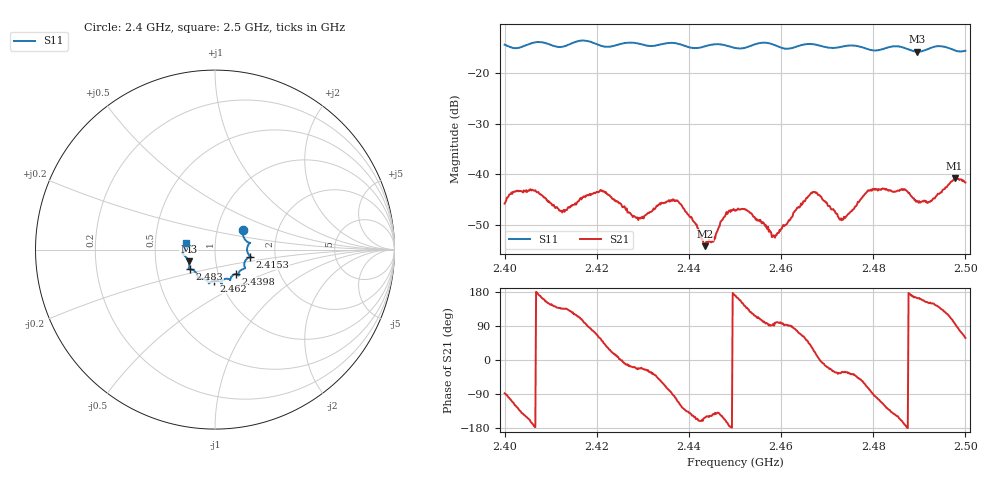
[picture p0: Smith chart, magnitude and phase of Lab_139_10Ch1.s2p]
# Hz S RI R 50
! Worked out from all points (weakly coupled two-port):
!   601 points, 2.4 GHz to 2.5 GHz, reference 50 ohm
!   highest |S21| = -40.74 dB at 2.4977 GHz (marker M1); lowest = -54.1 dB at 2.4435 GHz (marker M2)
!   lowest |S11| = -15.9 dB at 2.4895 GHz (marker M3), VSWR 1.38, Z = 37 - j5.01 ohm
!   |S11| at or under -10 dB: start of sweep to end of sweep
!   S12 and S22 are empty: the file has one direction only
!   S11 on the Smith chart (normalised r, x): 2.4 GHz: 1.33, +0.29; 2.4153 GHz: 1.48, -0.12; 2.4398 GHz: 1.21, -0.34; 2.462 GHz: 0.93, -0.33; 2.483 GHz: 0.74, -0.17; 2.5 GHz: 0.72, +0.06
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2.4e9  0.155 0.1069  0.000176 -0.00518  0 0  0 0
2.406e9  0.192 0.038  -0.00692 -0.00147  0 0  0 0
2.412167e9  0.1786 -0.00254  -0.00312 0.00306  0 0  0 0
2.415333e9  0.1964 -0.0388  -0.00258 0.00454  0 0  0 0
2.416667e9  0.2023 -0.0427  -0.00176 0.00542  0 0  0 0
2.421167e9  0.1742 -0.0551  0.00447 0.00533  0 0  0 0
2.429e9  0.1618 -0.1057  0.00332 -0.00131  0 0  0 0
2.433333e9  0.1309 -0.1337  0.00329 -0.0038  0 0  0 0
2.437e9  0.1322 -0.1437  -0.000899 -0.00549  0 0  0 0
2.439833e9  0.1154 -0.1363  -0.00292 -0.00277  0 0  0 0
2.4435e9  0.0869 -0.1593  -0.00174 -0.000934  0 0  0 0
2.45e9  0.0649 -0.1624  -0.00434 0.000752  0 0  0 0
2.4585e9  0.0344 -0.1843  -3.12e-05 0.00251  0 0  0 0
2.462e9  -0.00501 -0.1731  -3.67e-05 0.00362  0 0  0 0
2.466667e9  -0.0343 -0.188  0.00547 0.0036  0 0  0 0
2.473e9  -0.0801 -0.1603  0.00307 -0.00208  0 0  0 0
2.479e9  -0.1031 -0.134  0.00182 -0.00677  0 0  0 0
2.483e9  -0.1375 -0.1096  -0.00425 -0.00568  0 0  0 0
2.483333e9  -0.1401 -0.1093  -0.00449 -0.00528  0 0  0 0
2.4895e9  -0.1462 -0.066  -0.00528 0.00154  0 0  0 0
2.497667e9  -0.1656 0.00116  -0.00107 0.00912  0 0  0 0
2.5e9  -0.1595 0.0391  0.0044 0.00709  0 0  0 0
